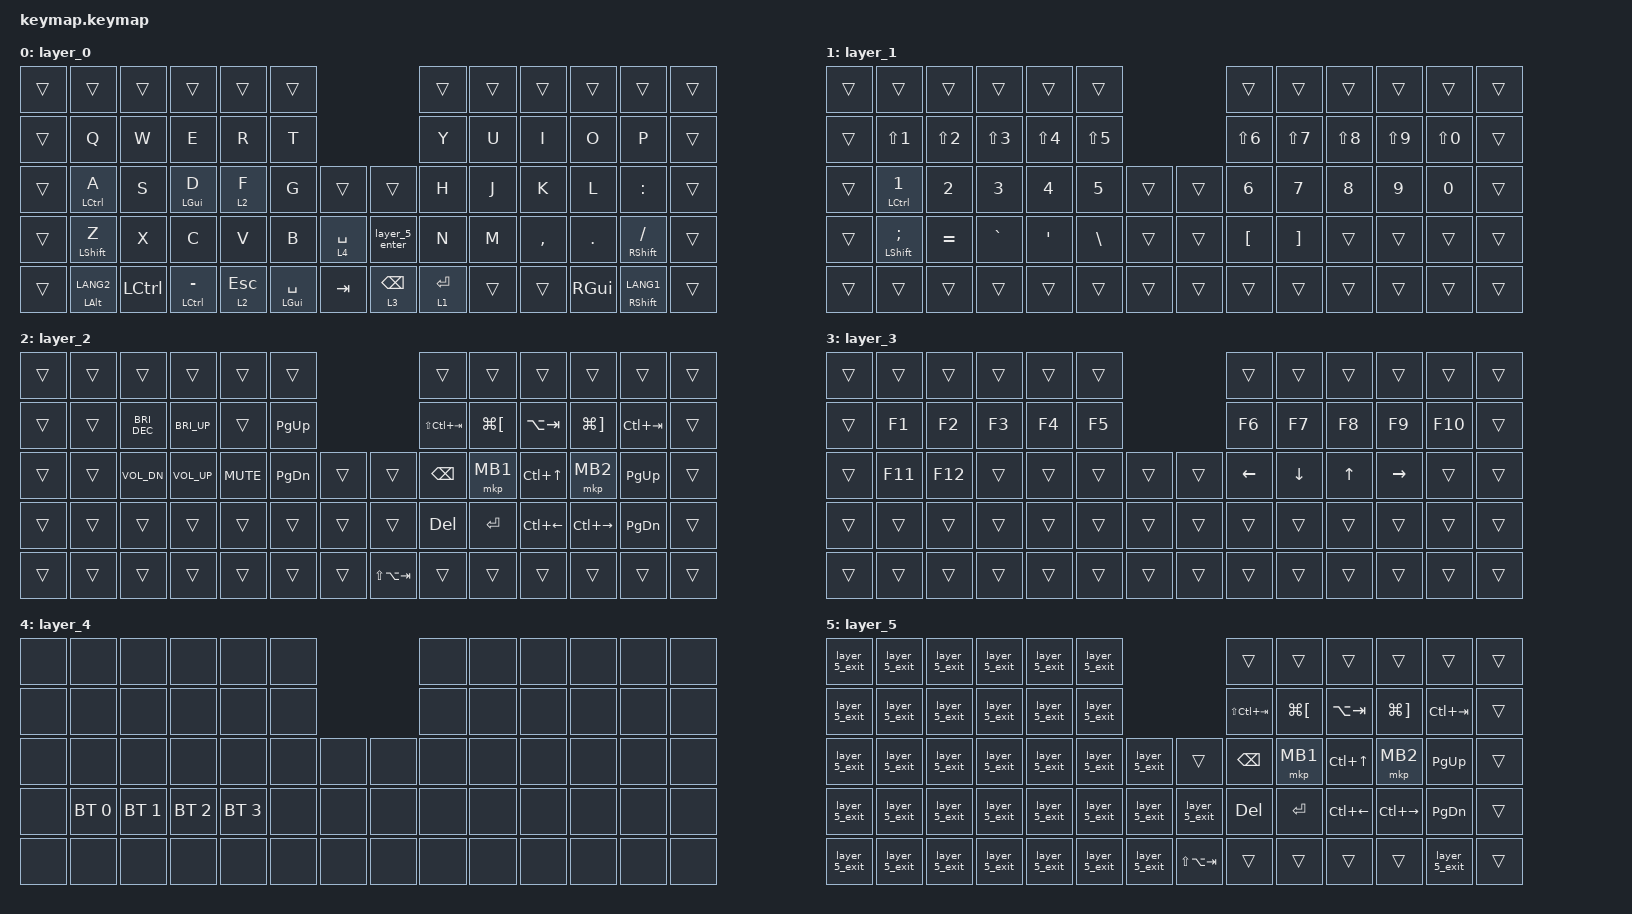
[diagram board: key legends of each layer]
#include <behaviors.dtsi>
#include <dt-bindings/zmk/bt.h>
#include <dt-bindings/zmk/keys.h>
#include <dt-bindings/zmk/pointing.h>
#include <input/processors.dtsi>

/ {
    /* behaviors を追加 */
    /* https://zmk.dev/docs/keymaps/behaviors/hold-tap?examples=mlt#custom-hold-tap-examples */

    behaviors {
        mt: mod_tap {
            flavor = "balanced";
            tapping-term-ms = <200>;
        };

        lt: layer_tap {
            flavor = "balanced";
            tapping-term-ms = <200>;
        };
    };

    macros {
        layer_5_enter: layer_5_enter {
            compatible = "zmk,behavior-macro";
            #binding-cells = <0>;
            bindings = <&macro_tap &tog 5 &kp F16>;
        };

        layer_5_exit: layer_5_exit {
            compatible = "zmk,behavior-macro";
            #binding-cells = <0>;
            bindings = <&macro_tap &tog 5 &kp F17>;
        };
    };

    keymap {
        compatible = "zmk,keymap";

        layer_0 {
            bindings = <
&trans  &trans            &trans     &trans           &trans        &trans                                      &trans      &trans  &trans     &trans    &trans                &trans
&trans  &kp Q             &kp W      &kp E            &kp R         &kp T                                       &kp Y       &kp U   &kp I      &kp O     &kp P                 &trans
&trans  &mt LCTRL A       &kp S      &mt LGUI D       &lt 2 F       &kp G           &trans      &trans          &kp H       &kp J   &kp K      &kp L     &kp COLON             &trans
&trans  &mt LEFT_SHIFT Z  &kp X      &kp C            &kp V         &kp B           &lt 4 SPACE &layer_5_enter  &kp N       &kp M   &kp COMMA  &kp DOT   &mt RIGHT_SHIFT FSLH  &trans
&trans  &mt LALT LANG2    &kp LCTRL  &mt LCTRL MINUS  &lt 2 ESCAPE  &mt LGUI SPACE  &kp TAB     &lt 3 BACKSPACE &lt 1 ENTER &trans  &trans     &kp RGUI  &mt RSHIFT LANG1      &trans
            >;
        };

        layer_1 {
            bindings = <
&trans  &trans               &trans      &trans      &trans      &trans                      &trans      &trans      &trans      &trans      &trans      &trans
&trans  &kp LS(N1)           &kp LS(N2)  &kp LS(N3)  &kp LS(N4)  &kp LS(N5)                  &kp LS(N6)  &kp LS(N7)  &kp LS(N8)  &kp LS(N9)  &kp LS(N0)  &trans
&trans  &mt LCTRL N1         &kp N2      &kp N3      &kp N4      &kp N5      &trans  &trans  &kp N6      &kp N7      &kp N8      &kp N9      &kp N0      &trans
&trans  &mt LEFT_SHIFT SEMI  &kp EQUAL   &kp GRAVE   &kp SQT     &kp BSLH    &trans  &trans  &kp LBKT    &kp RBKT    &trans      &trans      &trans      &trans
&trans  &trans               &trans      &trans      &trans      &trans      &trans  &trans  &trans      &trans      &trans      &trans      &trans      &trans
            >;
        };

        layer_2 {
            bindings = <
&trans  &trans  &trans         &trans        &trans      &trans                                  &trans           &trans        &trans              &trans               &trans         &trans
&trans  &trans  &kp C_BRI_DEC  &kp C_BRI_UP  &trans      &kp PAGE_UP                             &kp LS(LC(TAB))  &kp LG(LBKT)  &kp LA(TAB)         &kp LG(RBKT)         &kp LC(TAB)    &trans
&trans  &trans  &kp C_VOL_DN   &kp C_VOL_UP  &kp K_MUTE  &kp PAGE_DOWN  &trans  &trans           &kp BACKSPACE    &mkp MB1      &kp LC(UP_ARROW)     &mkp MB2             &kp PAGE_UP    &trans
&trans  &trans  &trans         &trans        &trans      &trans         &trans  &trans           &kp DEL          &kp ENTER     &kp LC(LEFT_ARROW)  &kp LC(RIGHT_ARROW)  &kp PAGE_DOWN  &trans
&trans  &trans  &trans         &trans        &trans      &trans         &trans  &kp LS(LA(TAB))  &trans           &trans        &trans              &trans               &trans         &trans
            >;
        };

        layer_3 {
            bindings = <
&trans  &trans   &trans   &trans  &trans  &trans                  &trans    &trans    &trans        &trans     &trans   &trans
&trans  &kp F1   &kp F2   &kp F3  &kp F4  &kp F5                  &kp F6    &kp F7    &kp F8        &kp F9     &kp F10  &trans
&trans  &kp F11  &kp F12  &trans  &trans  &trans  &trans  &trans  &kp LEFT  &kp DOWN  &kp UP_ARROW  &kp RIGHT  &trans   &trans
&trans  &trans   &trans   &trans  &trans  &trans  &trans  &trans  &trans    &trans    &trans        &trans     &trans   &trans
&trans  &trans   &trans   &trans  &trans  &trans  &trans  &trans  &trans    &trans    &trans        &trans     &trans   &trans
            >;
        };

        layer_4 {
            bindings = <
&none  &none        &none        &none        &none        &none                &none  &none  &none  &none  &none  &none
&none  &none        &none        &none        &none        &none                &none  &none  &none  &none  &none  &none
&none  &none        &none        &none        &none        &none  &none  &none  &none  &none  &none  &none  &none  &none
&none  &bt BT_SEL 0 &bt BT_SEL 1 &bt BT_SEL 2 &bt BT_SEL 3 &none  &none  &none  &none  &none  &none  &none  &none  &none
&none  &none        &none        &none        &none        &none  &none  &none  &none  &none  &none  &none  &none  &none
            >;
        };

        layer_5 {
            /* 右手マウスレイヤー用 layer_2 の片手版 */
            /* &layer_5_exit を押すと元のレイヤーに戻る */
            bindings = <
&layer_5_exit  &layer_5_exit  &layer_5_exit  &layer_5_exit  &layer_5_exit  &layer_5_exit                          &trans           &trans        &trans              &trans               &trans         &trans
&layer_5_exit  &layer_5_exit  &layer_5_exit  &layer_5_exit  &layer_5_exit  &layer_5_exit                          &kp LS(LC(TAB))  &kp LG(LBKT)  &kp LA(TAB)         &kp LG(RBKT)         &kp LC(TAB)    &trans
&layer_5_exit  &layer_5_exit  &layer_5_exit  &layer_5_exit  &layer_5_exit  &layer_5_exit  &layer_5_exit  &trans          &kp BACKSPACE    &mkp MB1      &kp LC(UP_ARROW)     &mkp MB2             &kp PAGE_UP    &trans
&layer_5_exit  &layer_5_exit  &layer_5_exit  &layer_5_exit  &layer_5_exit  &layer_5_exit  &layer_5_exit  &layer_5_exit          &kp DEL          &kp ENTER     &kp LC(LEFT_ARROW)  &kp LC(RIGHT_ARROW)  &kp PAGE_DOWN  &trans
&layer_5_exit  &layer_5_exit  &layer_5_exit  &layer_5_exit  &layer_5_exit  &layer_5_exit  &layer_5_exit  &kp LS(LA(TAB)) &trans           &trans        &trans              &trans               &layer_5_exit         &trans
            >;
        };
    };
};
